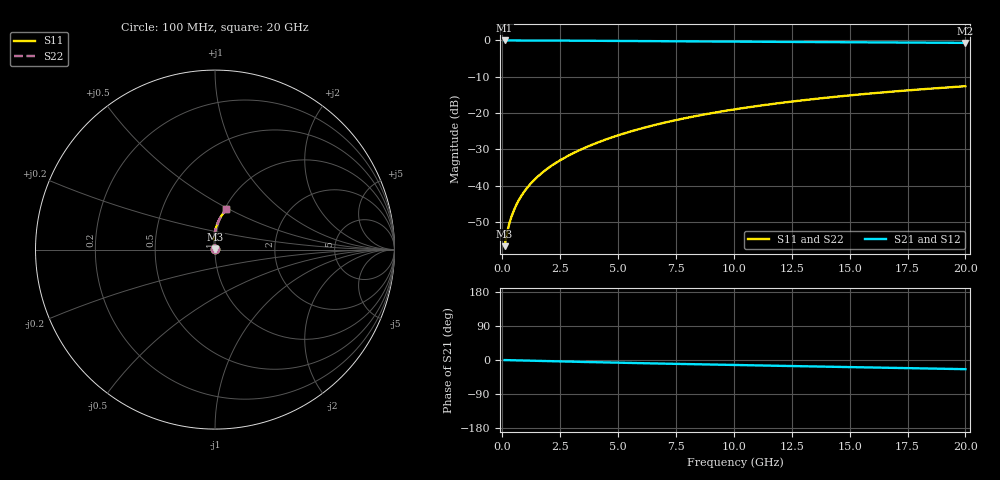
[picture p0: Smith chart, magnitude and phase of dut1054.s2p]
! Touchstone file exported from HFSS 2024.1.0
!  File:  C:/UserFiles/LocalFiles/RDL_TSV_Batchsim/temp_RDL_top_1054_1780044585.aedt
!  Generated:  04:51:45 PM May 29, 2026
!  Design:  RDL_top
!  Project:  temp_RDL_top_1054_1780044585
!  Setup:  Setup1
!  Solution:  Sweep
! Variables:
!  dtsv = 10.80580581um
!  hbump = 3um
!  htsv = 51.09um
!  ldown = 100um
!  lrdl = 329.49um
!  p = 40
!  p1 = 58.4um
!  rhole = 1um
!  t = 450um
!  tdown = 3.915915916um
!  trdl = 4.46um
!  wdown = 15.38538539um
!  wrdl = 29.49um
# GHz S MA R 50.000000
! Terminal data exported
! Port[1] = Box2_T1
! Port[2] = Box2_T2
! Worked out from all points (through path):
!   200 points, 100 MHz to 20 GHz, reference 50 ohm
!   highest |S21| = -0.01 dB at 100 MHz (marker M1); lowest = -0.7 dB at 20 GHz (marker M2)
!   group delay of S21, straight-line fit = 3.29 ps
!   lowest |S11| = -56.7 dB at 100 MHz (marker M3), VSWR 1.00, Z = 50.1 + j0.0969 ohm
!   |S11| at or under -10 dB: start of sweep to end of sweep
!   |S22| runs from -56.7 to -12.6 dB; largest |S21 - S12| = 4e-15
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0.1  0.001461 41.4  0.9989 -0.2  0.9989 -0.2  0.001461 41.4
! Gamma 0 0 0 0
! Port Impedance 50 0 50 0
0.2  0.002199 57.8  0.9988 -0.3  0.9988 -0.3  0.002199 57.8
0.3  0.002971 65.8  0.9987 -0.5  0.9987 -0.5  0.002971 65.8
0.4  0.003753 70.8  0.9986 -0.6  0.9986 -0.6  0.003753 70.8
0.5  0.004548 74.3  0.9984 -0.8  0.9984 -0.8  0.004548 74.3
0.6  0.005356 77.0  0.9983 -0.9  0.9983 -0.9  0.005356 77.0
0.8  0.007003 80.8  0.9981 -1.2  0.9981 -1.2  0.007004 80.8
1.1  0.00954 84.4  0.9976 -1.7  0.9976 -1.7  0.00954 84.4
1.5  0.01303 87.4  0.9968 -2.3  0.9968 -2.3  0.01303 87.4
2.1  0.0185 90.3  0.9953 -3.1  0.9953 -3.1  0.0185 90.3
2.7  0.02427 92.0  0.9933 -4.0  0.9933 -4.0  0.02427 92.0
3.5  0.03245 93.4  0.9902 -5.1  0.9902 -5.1  0.03245 93.4
4.2  0.04006 94.0  0.9873 -6.1  0.9873 -6.1  0.04006 94.0
5  0.0492 94.1  0.9838 -7.1  0.9838 -7.1  0.0492 94.1
5.9  0.05993 93.6  0.9797 -8.2  0.9797 -8.2  0.05994 93.6
6.8  0.07103 92.9  0.9757 -9.4  0.9757 -9.4  0.07103 92.9
8.4  0.09128 90.9  0.9689 -11.3  0.9689 -11.3  0.09129 90.9
10.1  0.1131 88.5  0.9621 -13.2  0.9621 -13.2  0.1131 88.5
11.7  0.1335 86.1  0.956 -15.1  0.956 -15.1  0.1335 86.1
13.4  0.155 83.6  0.9496 -17.0  0.9496 -17.0  0.155 83.6
16.7  0.1954 78.7  0.9375 -20.6  0.9375 -20.6  0.1954 78.7
20  0.2339 74.2  0.9251 -24.2  0.9251 -24.2  0.2339 74.2
